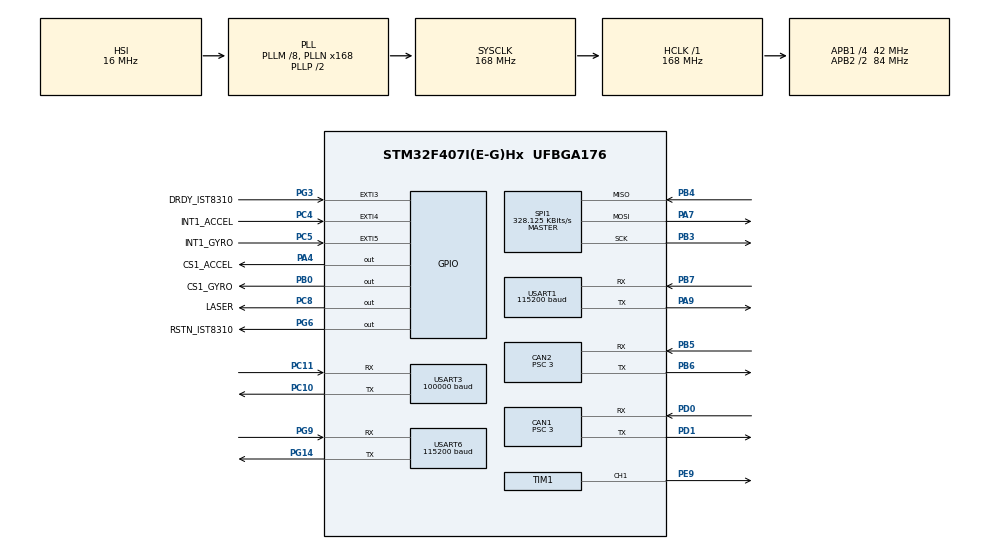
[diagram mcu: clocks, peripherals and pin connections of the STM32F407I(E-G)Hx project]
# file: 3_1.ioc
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CAN1.ABOM=DISABLE
CAN1.AWUM=DISABLE
CAN1.BS1=CAN_BS1_10TQ
CAN1.BS2=CAN_BS2_3TQ
CAN1.CalculateBaudRate=1000000
CAN1.CalculateTimeQuantum=71.42857142857143
CAN1.Mode=CAN_MODE_NORMAL
CAN1.NART=DISABLE
CAN1.Prescaler=3
CAN1.RFLM=DISABLE
CAN1.SJW=CAN_SJW_1TQ
CAN1.TTCM=DISABLE
CAN1.TXFP=DISABLE
CAN2.ABOM=DISABLE
CAN2.AWUM=DISABLE
CAN2.BS1=CAN_BS1_10TQ
CAN2.BS2=CAN_BS2_3TQ
CAN2.CalculateBaudRate=1000000
CAN2.CalculateTimeQuantum=71.42857142857143
CAN2.Mode=CAN_MODE_NORMAL
CAN2.NART=DISABLE
CAN2.Prescaler=3
CAN2.RFLM=DISABLE
CAN2.SJW=CAN_SJW_1TQ
CAN2.TTCM=DISABLE
CAN2.TXFP=DISABLE
Dma.Request0=USART3_RX
Dma.Request1=SPI1_RX
Dma.Request2=SPI1_TX
Dma.Request3=USART1_RX
Dma.Request4=USART1_TX
Dma.Request5=USART6_RX
Dma.SPI1_RX.1.Direction=DMA_PERIPH_TO_MEMORY
Dma.SPI1_RX.1.FIFOMode=DMA_FIFOMODE_DISABLE
Dma.SPI1_RX.1.Instance=DMA2_Stream2
Dma.SPI1_RX.1.MemDataAlignment=DMA_MDATAALIGN_BYTE
Dma.SPI1_RX.1.MemInc=DMA_MINC_ENABLE
Dma.SPI1_RX.1.Mode=DMA_NORMAL
Dma.SPI1_RX.1.PeriphDataAlignment=DMA_PDATAALIGN_BYTE
Dma.SPI1_RX.1.PeriphInc=DMA_PINC_DISABLE
Dma.SPI1_RX.1.Priority=DMA_PRIORITY_VERY_HIGH
Dma.SPI1_TX.2.Direction=DMA_MEMORY_TO_PERIPH
Dma.SPI1_TX.2.FIFOMode=DMA_FIFOMODE_DISABLE
Dma.SPI1_TX.2.Instance=DMA2_Stream3
Dma.SPI1_TX.2.MemDataAlignment=DMA_MDATAALIGN_BYTE
Dma.SPI1_TX.2.MemInc=DMA_MINC_ENABLE
Dma.SPI1_TX.2.Mode=DMA_NORMAL
Dma.SPI1_TX.2.PeriphDataAlignment=DMA_PDATAALIGN_BYTE
Dma.SPI1_TX.2.PeriphInc=DMA_PINC_DISABLE
Dma.SPI1_TX.2.Priority=DMA_PRIORITY_HIGH
Dma.USART1_RX.3.Direction=DMA_PERIPH_TO_MEMORY
Dma.USART1_RX.3.FIFOMode=DMA_FIFOMODE_DISABLE
Dma.USART1_RX.3.Instance=DMA2_Stream5
Dma.USART1_RX.3.MemDataAlignment=DMA_MDATAALIGN_BYTE
Dma.USART1_RX.3.MemInc=DMA_MINC_ENABLE
Dma.USART1_RX.3.Mode=DMA_NORMAL
Dma.USART1_RX.3.PeriphDataAlignment=DMA_PDATAALIGN_BYTE
Dma.USART1_RX.3.PeriphInc=DMA_PINC_DISABLE
Dma.USART1_RX.3.Priority=DMA_PRIORITY_HIGH
Dma.USART1_TX.4.Direction=DMA_MEMORY_TO_PERIPH
Dma.USART1_TX.4.FIFOMode=DMA_FIFOMODE_DISABLE
Dma.USART1_TX.4.Instance=DMA2_Stream7
Dma.USART1_TX.4.MemDataAlignment=DMA_MDATAALIGN_BYTE
Dma.USART1_TX.4.MemInc=DMA_MINC_ENABLE
Dma.USART1_TX.4.Mode=DMA_NORMAL
Dma.USART1_TX.4.PeriphDataAlignment=DMA_PDATAALIGN_BYTE
Dma.USART1_TX.4.PeriphInc=DMA_PINC_DISABLE
Dma.USART1_TX.4.Priority=DMA_PRIORITY_HIGH
Dma.USART3_RX.0.Direction=DMA_PERIPH_TO_MEMORY
Dma.USART3_RX.0.FIFOMode=DMA_FIFOMODE_DISABLE
Dma.USART3_RX.0.Instance=DMA1_Stream1
Dma.USART3_RX.0.MemDataAlignment=DMA_MDATAALIGN_BYTE
Dma.USART3_RX.0.MemInc=DMA_MINC_ENABLE
Dma.USART3_RX.0.Mode=DMA_CIRCULAR
Dma.USART3_RX.0.PeriphDataAlignment=DMA_PDATAALIGN_BYTE
Dma.USART3_RX.0.PeriphInc=DMA_PINC_DISABLE
Dma.USART3_RX.0.Priority=DMA_PRIORITY_LOW
Dma.USART6_RX.5.Direction=DMA_PERIPH_TO_MEMORY
Dma.USART6_RX.5.FIFOMode=DMA_FIFOMODE_DISABLE
Dma.USART6_RX.5.Instance=DMA2_Stream1
Dma.USART6_RX.5.MemDataAlignment=DMA_MDATAALIGN_BYTE
Dma.USART6_RX.5.MemInc=DMA_MINC_ENABLE
Dma.USART6_RX.5.Mode=DMA_CIRCULAR
Dma.USART6_RX.5.PeriphDataAlignment=DMA_PDATAALIGN_BYTE
Dma.USART6_RX.5.PeriphInc=DMA_PINC_DISABLE
Dma.USART6_RX.5.Priority=DMA_PRIORITY_LOW
FREERTOS.HEAP_NUMBER=4
FREERTOS.INCLUDE_eTaskGetState=1
FREERTOS.INCLUDE_pcTaskGetTaskName=1
FREERTOS.INCLUDE_uxTaskGetStackHighWaterMark=1
FREERTOS.INCLUDE_uxTaskGetStackHighWaterMark2=0
FREERTOS.INCLUDE_uxTaskPriorityGet=1
FREERTOS.INCLUDE_vTaskCleanUpResources=1
FREERTOS.INCLUDE_vTaskDelay=1
FREERTOS.INCLUDE_vTaskDelayUntil=1
FREERTOS.INCLUDE_vTaskDelete=1
FREERTOS.INCLUDE_vTaskPrioritySet=1
FREERTOS.INCLUDE_vTaskSuspend=1
FREERTOS.INCLUDE_xEventGroupSetBitFromISR=1
FREERTOS.INCLUDE_xQueueGetMutexHolder=1
FREERTOS.INCLUDE_xSemaphoreGetMutexHolder=1
FREERTOS.INCLUDE_xTaskAbortDelay=1
FREERTOS.INCLUDE_xTaskGetCurrentTaskHandle=1
FREERTOS.INCLUDE_xTaskGetHandle=1
FREERTOS.INCLUDE_xTaskGetSchedulerState=1
FREERTOS.INCLUDE_xTaskResumeFromISR=1
FREERTOS.INCLUDE_xTimerPendFunctionCall=1
FREERTOS.Tasks01=Init_TaskHandle,48,128,Init_Task,As weak,NULL,Dynamic,NULL,NULL;Comm_TaskHandle,48,128,Comm_Task,As weak,NULL,Dynamic,NULL,NULL;Ins_TaskHandler,48,128,Ins_Task,As weak,NULL,Dynamic,NULL,NULL;WatchDog_TaskHa,40,128,WatchDog_Task,As weak,NULL,Dynamic,NULL,NULL;Shoot_TaskHandl,48,128,Shoot_Task,As weak,NULL,Dynamic,NULL,NULL;Remote_TaskHand,48,128,Remote_Task,As weak,NULL,Dynamic,NULL,NULL;Gimbal_TaskHand,48,1024,Gimbal_Task,As weak,NULL,Dynamic,NULL,NULL;Referee_TaskHa,48,128,Referee_Task,As weak,NULL,Dynamic,NULL,NULL
FREERTOS.Timers01=SoftTimer,SoftTimerCallback,osTimerPeriodic,As weak,NULL,Dynamic,NULL
FREERTOS.configCHECK_FOR_STACK_OVERFLOW=0
FREERTOS.configENABLE_BACKWARD_COMPATIBILITY=1
FREERTOS.configENABLE_FPU=0
FREERTOS.configGENERATE_RUN_TIME_STATS=0
FREERTOS.configIDLE_SHOULD_YIELD=1
FREERTOS.configLIBRARY_LOWEST_INTERRUPT_PRIORITY=15
FREERTOS.configLIBRARY_MAX_SYSCALL_INTERRUPT_PRIORITY=5
FREERTOS.configMAX_CO_ROUTINE_PRIORITIES=2
FREERTOS.configMAX_TASK_NAME_LEN=16
FREERTOS.configMINIMAL_STACK_SIZE=128
FREERTOS.configQUEUE_REGISTRY_SIZE=8
FREERTOS.configRECORD_STACK_HIGH_ADDRESS=0
FREERTOS.configTICK_RATE_HZ=1000
FREERTOS.configTIMER_QUEUE_LENGTH=10
FREERTOS.configTIMER_TASK_PRIORITY=2
FREERTOS.configTIMER_TASK_STACK_DEPTH=256
FREERTOS.configTOTAL_HEAP_SIZE=24576
FREERTOS.configUSE_APPLICATION_TASK_TAG=0
FREERTOS.configUSE_COUNTING_SEMAPHORES=1
FREERTOS.configUSE_CO_ROUTINES=0
FREERTOS.configUSE_DAEMON_TASK_STARTUP_HOOK=0
FREERTOS.configUSE_IDLE_HOOK=0
FREERTOS.configUSE_MALLOC_FAILED_HOOK=0
FREERTOS.configUSE_MUTEXES=1
FREERTOS.configUSE_NEWLIB_REENTRANT=0
FREERTOS.configUSE_OS2_EVENTFLAGS_FROM_ISR=1
FREERTOS.configUSE_OS2_MUTEX=1
FREERTOS.configUSE_OS2_THREAD_ENUMERATE=1
FREERTOS.configUSE_OS2_THREAD_FLAGS=1
FREERTOS.configUSE_OS2_THREAD_SUSPEND_RESUME=1
FREERTOS.configUSE_OS2_TIMER=1
FREERTOS.configUSE_POSIX_ERRNO=0
FREERTOS.configUSE_PREEMPTION=1
FREERTOS.configUSE_RECURSIVE_MUTEXES=1
FREERTOS.configUSE_STATS_FORMATTING_FUNCTIONS=0
FREERTOS.configUSE_TASK_NOTIFICATIONS=1
FREERTOS.configUSE_TICKLESS_IDLE=0
FREERTOS.configUSE_TICK_HOOK=0
FREERTOS.configUSE_TRACE_FACILITY=1
FREERTOS.copyHeapFile=1
Mcu.Family=STM32F4
Mcu.Name=STM32F407I(E-G)Hx
Mcu.Package=UFBGA176
NVIC.CAN1_RX0_IRQn=true\:6\:0\:true\:false\:true\:true\:true\:true\:true
NVIC.CAN2_RX0_IRQn=true\:6\:0\:true\:false\:true\:true\:true\:true\:true
NVIC.DMA1_Stream1_IRQn=true\:5\:0\:false\:false\:true\:true\:false\:true\:true
NVIC.DMA2_Stream1_IRQn=true\:5\:0\:false\:false\:true\:true\:false\:true\:true
NVIC.DMA2_Stream2_IRQn=true\:5\:0\:true\:false\:false\:true\:false\:true\:true
NVIC.DMA2_Stream3_IRQn=true\:5\:0\:true\:false\:false\:true\:false\:true\:true
NVIC.DMA2_Stream5_IRQn=true\:5\:0\:false\:false\:true\:true\:false\:true\:true
NVIC.DMA2_Stream7_IRQn=true\:5\:0\:false\:false\:true\:true\:false\:true\:true
NVIC.EXTI3_IRQn=true\:5\:0\:true\:false\:true\:true\:true\:true\:true
NVIC.EXTI4_IRQn=true\:5\:0\:true\:false\:true\:true\:true\:true\:true
NVIC.EXTI9_5_IRQn=true\:5\:0\:true\:false\:true\:true\:true\:true\:true
NVIC.PriorityGroup=NVIC_PRIORITYGROUP_4
NVIC.TIM6_DAC_IRQn=true\:15\:0\:false\:false\:true\:false\:true\:true\:true
NVIC.TIM8_UP_TIM13_IRQn=true\:7\:0\:true\:false\:true\:true\:true\:true\:true
NVIC.TimeBase=TIM6_DAC_IRQn
NVIC.TimeBaseIP=TIM6
NVIC.USART1_IRQn=true\:5\:0\:false\:false\:true\:true\:true\:true\:true
NVIC.USART3_IRQn=true\:5\:0\:false\:false\:true\:true\:true\:true\:true
NVIC.USART6_IRQn=true\:5\:0\:false\:false\:true\:true\:true\:true\:true
PA13.Mode=Serial_Wire
PA13.Signal=SYS_JTMS-SWDIO
PA14.Mode=Serial_Wire
PA14.Signal=SYS_JTCK-SWCLK
PA4.GPIO_Label=CS1_ACCEL
PA4.GPIO_PuPd=GPIO_PULLUP
PA4.GPIO_Speed=GPIO_SPEED_FREQ_HIGH
PA4.PinState=GPIO_PIN_SET
PA4.Signal=GPIO_Output
PA7.GPIO_PuPd=GPIO_PULLUP
PA7.Mode=Full_Duplex_Master
PA7.Signal=SPI1_MOSI
PA9.Mode=Asynchronous
PA9.Signal=USART1_TX
PB0.GPIO_Label=CS1_GYRO
PB0.GPIO_PuPd=GPIO_PULLUP
PB0.GPIO_Speed=GPIO_SPEED_FREQ_HIGH
PB0.PinState=GPIO_PIN_SET
PB0.Signal=GPIO_Output
PB3.GPIO_PuPd=GPIO_PULLUP
PB3.Mode=Full_Duplex_Master
PB3.Signal=SPI1_SCK
PB4.GPIO_PuPd=GPIO_PULLUP
PB4.Mode=Full_Duplex_Master
PB4.Signal=SPI1_MISO
PB5.Mode=CAN_Activate
PB5.Signal=CAN2_RX
PB6.Mode=CAN_Activate
PB6.Signal=CAN2_TX
PB7.Mode=Asynchronous
PB7.Signal=USART1_RX
PC10.Mode=Asynchronous
PC10.Signal=USART3_TX
PC11.Mode=Asynchronous
PC11.Signal=USART3_RX
PC4.GPIO_Label=INT1_ACCEL
PC4.GPIO_ModeDefaultEXTI=GPIO_MODE_IT_FALLING
PC4.GPIO_PuPd=GPIO_PULLUP
PC4.Signal=GPXTI4
PC5.GPIO_Label=INT1_GYRO
PC5.GPIO_ModeDefaultEXTI=GPIO_MODE_IT_FALLING
PC5.GPIO_PuPd=GPIO_PULLUP
PC5.Signal=GPXTI5
PC8.GPIO_Label=LASER
PC8.Signal=GPIO_Output
PD0.Mode=CAN_Activate
PD0.Signal=CAN1_RX
PD1.Mode=CAN_Activate
PD1.Signal=CAN1_TX
PE9.Signal=S_TIM1_CH1
PG14.Mode=Asynchronous
PG14.Signal=USART6_TX
PG3.GPIO_Label=DRDY_IST8310
PG3.GPIO_ModeDefaultEXTI=GPIO_MODE_IT_FALLING
PG3.GPIO_PuPd=GPIO_PULLUP
PG3.Signal=GPXTI3
PG6.GPIO_Label=RSTN_IST8310
PG6.GPIO_PuPd=GPIO_PULLUP
PG6.GPIO_Speed=GPIO_SPEED_FREQ_MEDIUM
PG6.PinState=GPIO_PIN_SET
PG6.Signal=GPIO_Output
PG9.Mode=Asynchronous
PG9.Signal=USART6_RX
PH0-OSC_IN.Mode=HSE-External-Oscillator
PH0-OSC_IN.Signal=RCC_OSC_IN
PH1-OSC_OUT.Mode=HSE-External-Oscillator
PH1-OSC_OUT.Signal=RCC_OSC_OUT
ProjectManager.HeapSize=0x2000
ProjectManager.StackSize=0x4000
ProjectManager.TargetToolchain=CMake
RCC.48MHZClocksFreq_Value=48000000
RCC.AHBFreq_Value=168000000
RCC.APB1CLKDivider=RCC_HCLK_DIV4
RCC.APB1Freq_Value=42000000
RCC.APB1TimFreq_Value=84000000
RCC.APB2CLKDivider=RCC_HCLK_DIV2
RCC.APB2Freq_Value=84000000
RCC.APB2TimFreq_Value=168000000
RCC.CortexFreq_Value=168000000
RCC.FLatency=FLASH_LATENCY_5
RCC.HCLKFreq_Value=168000000
RCC.HSE_VALUE=25000000
RCC.HSI_VALUE=16000000
RCC.LSE_VALUE=32768
RCC.PLLM=8
RCC.PLLN=168
RCC.PLLQ=7
RCC.SYSCLKFreq_VALUE=168000000
RCC.SYSCLKSource=RCC_SYSCLKSOURCE_PLLCLK
RCC.VCOOutputFreq_Value=336000000
SH.S_TIM1_CH1.0=TIM1_CH1,PWM Generation1 CH1
SPI1.BaudRatePrescaler=SPI_BAUDRATEPRESCALER_256
SPI1.CLKPhase=SPI_PHASE_2EDGE
SPI1.CLKPolarity=SPI_POLARITY_HIGH
SPI1.CRCCalculation=SPI_CRCCALCULATION_DISABLE
SPI1.CalculateBaudRate=328.125 KBits/s
SPI1.DataSize=SPI_DATASIZE_8BIT
SPI1.Direction=SPI_DIRECTION_2LINES
SPI1.FirstBit=SPI_FIRSTBIT_MSB
SPI1.Mode=SPI_MODE_MASTER
SPI1.NSS=SPI_NSS_SOFT
SPI1.TIMode=SPI_TIMODE_DISABLE
SPI1.VirtualType=VM_MASTER
TIM1.AutoReloadPreload=TIM_AUTORELOAD_PRELOAD_DISABLE
TIM1.AutomaticOutput=TIM_AUTOMATICOUTPUT_DISABLE
TIM1.BreakPolarity=TIM_BREAKPOLARITY_HIGH
TIM1.BreakState=TIM_BREAK_DISABLE
TIM1.Channel-PWM\ Generation1\ CH1=TIM_CHANNEL_1
TIM1.ClockDivision=TIM_CLOCKDIVISION_DIV1
TIM1.CounterMode=TIM_COUNTERMODE_UP
TIM1.LockLevel=TIM_LOCKLEVEL_OFF
TIM1.OC1Preload_PWM=ENABLE
TIM1.OCFastMode_PWM-PWM\ Generation1\ CH1=TIM_OCFAST_DISABLE
TIM1.OCIdleState_1=TIM_OCIDLESTATE_RESET
TIM1.OCMode_PWM-PWM\ Generation1\ CH1=TIM_OCMODE_PWM1
TIM1.OCPolarity_1=TIM_OCPOLARITY_HIGH
TIM1.OffStateIDLEMode=TIM_OSSI_DISABLE
TIM1.OffStateRunMode=TIM_OSSR_DISABLE
TIM1.Period=20000-1
TIM1.Prescaler=168
TIM1.Pulse-PWM\ Generation1\ CH1=0
TIM1.RepetitionCounter=0
TIM1.TIM_MasterOutputTrigger=TIM_TRGO_RESET
TIM1.TIM_MasterSlaveMode=TIM_MASTERSLAVEMODE_DISABLE
TIM12.AutoReloadPreload=TIM_AUTORELOAD_PRELOAD_DISABLE
TIM12.ClockDivision=TIM_CLOCKDIVISION_DIV1
TIM12.CounterMode=TIM_COUNTERMODE_UP
TIM12.Period=65535
TIM12.Prescaler=0
TIM8.AutoReloadPreload=TIM_AUTORELOAD_PRELOAD_DISABLE
TIM8.ClockDivision=TIM_CLOCKDIVISION_DIV1
TIM8.CounterMode=TIM_COUNTERMODE_UP
TIM8.Period=65535
TIM8.Prescaler=0
TIM8.RepetitionCounter=0
TIM8.TIM_MasterOutputTrigger=TIM_TRGO_RESET
TIM8.TIM_MasterSlaveMode=TIM_MASTERSLAVEMODE_DISABLE
USART1.BaudRate=115200
USART1.Mode=MODE_TX_RX
USART1.OverSampling=UART_OVERSAMPLING_16
USART1.Parity=PARITY_NONE
USART1.StopBits=STOPBITS_1
USART1.VirtualMode=VM_ASYNC
USART1.WordLength=WORDLENGTH_8B
USART3.BaudRate=100000
USART3.Mode=MODE_TX_RX
USART3.OverSampling=UART_OVERSAMPLING_16
USART3.Parity=PARITY_EVEN
USART3.StopBits=STOPBITS_1
USART3.VirtualMode=VM_ASYNC
USART3.WordLength=WORDLENGTH_8B
USART6.BaudRate=115200
USART6.Mode=MODE_TX_RX
USART6.OverSampling=UART_OVERSAMPLING_16
USART6.Parity=PARITY_NONE
USART6.StopBits=STOPBITS_1
USART6.VirtualMode=VM_ASYNC
USART6.WordLength=WORDLENGTH_8B
VP_CRC_VS_CRC.Mode=CRC_Activate
VP_FREERTOS_VS_CMSIS_V2.Mode=CMSIS_V2
VP_RNG_VS_RNG.Mode=RNG_Activate
VP_SYS_VS_tim6.Mode=TIM6
VP_TIM12_VS_ClockSourceINT.Mode=Internal
VP_TIM8_VS_ClockSourceINT.Mode=Internal
board=custom

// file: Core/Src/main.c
/* USER CODE BEGIN Header */
/**
  ******************************************************************************
  * @file           : main.c
  * @brief          : Main program body
  ******************************************************************************
  * @attention
  *
  * Copyright (c) 2026 STMicroelectronics.
  * All rights reserved.
  *
  * This software is licensed under terms that can be found in the LICENSE file
  * in the root directory of this software component.
  * If no LICENSE file comes with this software, it is provided AS-IS.
  *
  ******************************************************************************
  */
/* USER CODE END Header */
#include "main.h"
#include "cmsis_os.h"
#include "can.h"
#include "crc.h"
#include "dma.h"
#include "rng.h"
#include "spi.h"
#include "tim.h"
#include "usart.h"
#include "gpio.h"

/* USER CODE BEGIN Includes */
#include "motor_send_tim.h"

/* USER CODE END Includes */

void SystemClock_Config(void);
void MX_FREERTOS_Init(void);

int main(void)
{

  /* MCU Configuration--------------------------------------------------------*/

  /* Reset of all peripherals, Initializes the Flash interface and the Systick. */
  HAL_Init();

  /* Configure the system clock */
  SystemClock_Config();

  /* Initialize all configured peripherals */
  MX_GPIO_Init();
  MX_DMA_Init();
  MX_CAN1_Init();
  MX_CAN2_Init();
  MX_SPI1_Init();
  MX_TIM1_Init();
  MX_USART3_UART_Init();
  MX_TIM8_Init();
  MX_TIM12_Init();
  MX_USART6_UART_Init();
  MX_USART1_UART_Init();
  MX_CRC_Init();
  MX_RNG_Init();
  /* USER CODE BEGIN 2 */
  motor_send_tim_init();  // 配置 TIM8 为 250μs 周期，暂不启动，等电机使能后再 start
  /* USER CODE END 2 */

  /* Init scheduler */
  osKernelInitialize();  /* Call init function for freertos objects (in cmsis_os2.c) */
  MX_FREERTOS_Init();

  /* Start scheduler */
  osKernelStart();

  /* We should never get here as control is now taken by the scheduler */

  /* Infinite loop */
  while (1)
  {

  }
}

void SystemClock_Config(void)
{
  RCC_OscInitTypeDef RCC_OscInitStruct = {0};
  RCC_ClkInitTypeDef RCC_ClkInitStruct = {0};

  /** Configure the main internal regulator output voltage
  */
  __HAL_RCC_PWR_CLK_ENABLE();
  __HAL_PWR_VOLTAGESCALING_CONFIG(PWR_REGULATOR_VOLTAGE_SCALE1);

  /** Initializes the RCC Oscillators according to the specified parameters
  * in the RCC_OscInitTypeDef structure.
  */
  RCC_OscInitStruct.OscillatorType = RCC_OSCILLATORTYPE_HSI;
  RCC_OscInitStruct.HSIState = RCC_HSI_ON;
  RCC_OscInitStruct.HSICalibrationValue = RCC_HSICALIBRATION_DEFAULT;
  RCC_OscInitStruct.PLL.PLLState = RCC_PLL_ON;
  RCC_OscInitStruct.PLL.PLLSource = RCC_PLLSOURCE_HSI;
  RCC_OscInitStruct.PLL.PLLM = 8;
  RCC_OscInitStruct.PLL.PLLN = 168;
  RCC_OscInitStruct.PLL.PLLP = RCC_PLLP_DIV2;
  RCC_OscInitStruct.PLL.PLLQ = 7;
  if (HAL_RCC_OscConfig(&RCC_OscInitStruct) != HAL_OK)
  {
    Error_Handler();
  }

  /** Initializes the CPU, AHB and APB buses clocks
  */
  RCC_ClkInitStruct.ClockType = RCC_CLOCKTYPE_HCLK|RCC_CLOCKTYPE_SYSCLK
                              |RCC_CLOCKTYPE_PCLK1|RCC_CLOCKTYPE_PCLK2;
  RCC_ClkInitStruct.SYSCLKSource = RCC_SYSCLKSOURCE_PLLCLK;
  RCC_ClkInitStruct.AHBCLKDivider = RCC_SYSCLK_DIV1;
  RCC_ClkInitStruct.APB1CLKDivider = RCC_HCLK_DIV4;
  RCC_ClkInitStruct.APB2CLKDivider = RCC_HCLK_DIV2;

  if (HAL_RCC_ClockConfig(&RCC_ClkInitStruct, FLASH_LATENCY_5) != HAL_OK)
  {
    Error_Handler();
  }
}

void HAL_TIM_PeriodElapsedCallback(TIM_HandleTypeDef *htim)
{
  if (htim->Instance == TIM6)
  {
    HAL_IncTick();
  }
}

void Error_Handler(void)
{
  __disable_irq();
  while (1)
  {
  }
}

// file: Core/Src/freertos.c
/* USER CODE BEGIN Header */
/**
  ******************************************************************************
  * File Name          : freertos.c
  * Description        : Code for freertos applications
  ******************************************************************************
  * @attention
  *
  * Copyright (c) 2026 STMicroelectronics.
  * All rights reserved.
  *
  * This software is licensed under terms that can be found in the LICENSE file
  * in the root directory of this software component.
  * If no LICENSE file comes with this software, it is provided AS-IS.
  *
  ******************************************************************************
  */
/* USER CODE END Header */

#include "FreeRTOS.h"
#include "task.h"
#include "main.h"
#include "cmsis_os.h"

/* USER CODE BEGIN Includes */
#include "dm_motor_ctrl.h"
#include "dm_motor_drv.h"
#include "can.h"
#include "bsp_can.h"
#include "remote.h"
#include "motor_send_tim.h"
#include "chassis.h"
#include "tim.h"
#include "math.h"
#include <stdbool.h>
/* USER CODE END Includes */

/* USER CODE BEGIN Variables */
volatile float g_servo_pulse = 1500.0f;  // 调试用全局变量，Watch窗口可实时查看
/* USER CODE END Variables */
/* Definitions for Init_TaskHandle */
osThreadId_t Init_TaskHandleHandle;
const osThreadAttr_t Init_TaskHandle_attributes = {
  .name = "Init_TaskHandle",
  .stack_size = 128 * 4,
  .priority = (osPriority_t) osPriorityRealtime,
};
/* Definitions for Comm_TaskHandle */
osThreadId_t Comm_TaskHandleHandle;
const osThreadAttr_t Comm_TaskHandle_attributes = {
  .name = "Comm_TaskHandle",
  .stack_size = 128 * 4,
  .priority = (osPriority_t) osPriorityRealtime,
};
/* Definitions for Ins_TaskHandler */
osThreadId_t Ins_TaskHandlerHandle;
const osThreadAttr_t Ins_TaskHandler_attributes = {
  .name = "Ins_TaskHandler",
  .stack_size = 128 * 4,
  .priority = (osPriority_t) osPriorityRealtime,
};
/* Definitions for WatchDog_TaskHa */
osThreadId_t WatchDog_TaskHaHandle;
const osThreadAttr_t WatchDog_TaskHa_attributes = {
  .name = "WatchDog_TaskHa",
  .stack_size = 128 * 4,
  .priority = (osPriority_t) osPriorityHigh,
};
/* Definitions for Shoot_TaskHandl */
osThreadId_t Shoot_TaskHandlHandle;
const osThreadAttr_t Shoot_TaskHandl_attributes = {
  .name = "Shoot_TaskHandl",
  .stack_size = 128 * 4,
  .priority = (osPriority_t) osPriorityRealtime,
};
/* Definitions for Remote_TaskHand */
osThreadId_t Remote_TaskHandHandle;
const osThreadAttr_t Remote_TaskHand_attributes = {
  .name = "Remote_TaskHand",
  .stack_size = 128 * 4,
  .priority = (osPriority_t) osPriorityRealtime,
};
/* Definitions for Gimbal_TaskHand */
osThreadId_t Gimbal_TaskHandHandle;
const osThreadAttr_t Gimbal_TaskHand_attributes = {
  .name = "Gimbal_TaskHand",
  .stack_size = 1024 * 4,
  .priority = (osPriority_t) osPriorityRealtime,
};
/* Definitions for Referee_TaskHa */
osThreadId_t Referee_TaskHaHandle;
const osThreadAttr_t Referee_TaskHa_attributes = {
  .name = "Referee_TaskHa",
  .stack_size = 128 * 4,
  .priority = (osPriority_t) osPriorityRealtime,
};
/* Definitions for SoftTimer */
osTimerId_t SoftTimerHandle;
const osTimerAttr_t SoftTimer_attributes = {
  .name = "SoftTimer"
};

void Init_Task(void *argument);
void Comm_Task(void *argument);
void Ins_Task(void *argument);
void WatchDog_Task(void *argument);
void Shoot_Task(void *argument);
void Remote_Task(void *argument);
void Gimbal_Task(void *argument);
void Referee_Task(void *argument);
void SoftTimerCallback(void *argument);

void MX_FREERTOS_Init(void); /* (MISRA C 2004 rule 8.1) */

void MX_FREERTOS_Init(void) {

  /* Create the timer(s) */
  /* creation of SoftTimer */
  SoftTimerHandle = osTimerNew(SoftTimerCallback, osTimerPeriodic, NULL, &SoftTimer_attributes);

  /* Create the thread(s) */
  /* creation of Init_TaskHandle */
  Init_TaskHandleHandle = osThreadNew(Init_Task, NULL, &Init_TaskHandle_attributes);

  /* creation of Comm_TaskHandle */
  Comm_TaskHandleHandle = osThreadNew(Comm_Task, NULL, &Comm_TaskHandle_attributes);

  /* creation of Ins_TaskHandler */
  Ins_TaskHandlerHandle = osThreadNew(Ins_Task, NULL, &Ins_TaskHandler_attributes);

  /* creation of WatchDog_TaskHa */
  WatchDog_TaskHaHandle = osThreadNew(WatchDog_Task, NULL, &WatchDog_TaskHa_attributes);

  /* creation of Shoot_TaskHandl */
  Shoot_TaskHandlHandle = osThreadNew(Shoot_Task, NULL, &Shoot_TaskHandl_attributes);

  /* creation of Remote_TaskHand */
  Remote_TaskHandHandle = osThreadNew(Remote_Task, NULL, &Remote_TaskHand_attributes);

  /* creation of Gimbal_TaskHand */
  Gimbal_TaskHandHandle = osThreadNew(Gimbal_Task, NULL, &Gimbal_TaskHand_attributes);

  /* creation of Referee_TaskHa */
  Referee_TaskHaHandle = osThreadNew(Referee_Task, NULL, &Referee_TaskHa_attributes);

}

__weak void Init_Task(void *argument)
{
  for(;;)
  {
    osDelay(1);
  }
}

__weak void Comm_Task(void *argument)
{
  for(;;)
  {
    osDelay(1);
  }
}

__weak void Ins_Task(void *argument)
{
  for(;;)
  {
    osDelay(1);
  }
}

__weak void WatchDog_Task(void *argument)
{
  for(;;)
  {
    osDelay(1);
  }
}

__weak void Shoot_Task(void *argument)
{
  for(;;)
  {
    osDelay(1);
  }
}

__weak void Remote_Task(void *argument)
{
  for(;;)
  {
    osDelay(1);
  }
}

__weak void Gimbal_Task(void *argument)
{
  /* USER CODE BEGIN Gimbal_Task */

  // ====================== 初始化 ======================
  bsp_can_init();
  rc_init();

  // 舵机：立即启动PWM并发送中位，防止AF引脚低电平导致舵机冲限位
  HAL_TIM_PWM_Start(&htim1, TIM_CHANNEL_1);
  __HAL_TIM_SET_COMPARE(&htim1, TIM_CHANNEL_1, 710);

  osDelay(100);
  dm_motor_init();
  osDelay(100);

  for (int retry = 0; retry < 3; retry++) {
      for (int i = 0; i < num; i++) {
          if (motor[i].id == 0x01 || motor[i].id == 0x04 ||
              motor[i].id == 0x07 || motor[i].id == 0x0A) {
              dm_motor_clear_err(&hcan1, &motor[i]);
              osDelay(50);
              dm_motor_enable(&hcan1, &motor[i]);
              osDelay(50);
          }
      }
      osDelay(100);
  }

  for (int w = 0; w < 200; w++) {
      bool ok = true;
      for (int i = 0; i < num; i++) {
          if (motor[i].id == 0x01 || motor[i].id == 0x04 ||
              motor[i].id == 0x07 || motor[i].id == 0x0A) {
              if (motor[i].para.state == 0) ok = false;
          }
      }
      if (ok) break;
      osDelay(5);
  }
  osDelay(200);

  // ====================== 参数（const 防误改）======================
  const float kp_m1 = 150.0f, kd_m1 = 5.0f;
  const float kp_m2 = 200.0f, kd_m2 = 5.0f;
  const float kp_m3 = 150.0f, kd_m3 = 5.0f;

  #define GRIPPER_HOLD    0
  #define GRIPPER_CLAMP   1
  #define GRIPPER_RELEASE 2
  const float gripper_clamp_vel   =  2.0f;
  const float gripper_release_vel = -2.0f;
  const float gripper_kd          =  1.0f;
  const float gripper_hold_kp     = 50.0f;
  const float gripper_hold_kd     =  2.0f;
  const float gripper_tor_limit   =  3.0f;

  const int16_t RC_DEADZONE = 30;     // 死区加大，过滤零漂和噪声
  const float POS_LIMIT     = 12.0f;  // 位置安全限幅（PMAX=12.5）

  // ====================== 状态 ======================
  float pos_ref_m1 = motor[Motor1].para.pos;
  float pos_ref_m2 = motor[Motor2].para.pos;
  float pos_ref_m3 = motor[Motor3].para.pos;
  float gripper_hold_pos = motor[Motor4].para.pos;
  float int_m2 = 0.0f, int_m3 = 0.0f;

  // 上线同步：记录上一帧各电机的使能状态，检测 0→非0 跳变
  uint8_t prev_state_m1 = motor[Motor1].para.state;
  uint8_t prev_state_m2 = motor[Motor2].para.state;
  uint8_t prev_state_m3 = motor[Motor3].para.state;
  uint8_t prev_state_m4 = motor[Motor4].para.state;

  uint8_t last_s0 = 0;
  uint8_t gripper_state = GRIPPER_HOLD;
  bool gripper_overcurrent = false;

  #define SERVO_CENTER  1150.0f    // 上电基准位置
  #define SERVO_OFFSET  111     // 约10度对应脉宽偏移（us），待实测后修正
  #define SERVO_STEP    2.0f    // 每帧步进（us），控制切换速度
  #define SERVO_MIN     700.0f  // 舵机最小脉宽（根据实际行程调整）
  #define SERVO_MAX     1250.0f  // 舵机最大脉宽（根据实际行程调整）
  float servo_pulse  = SERVO_CENTER;
  float servo_target = SERVO_CENTER;

  // ---- 键鼠灵敏度常数（参考infantry_master，按需调整）----
  #define MOUSE_DEADZONE      8       // 鼠标死区，过滤手抖
  #define MOUSE_ROT_GAIN      6.0f    // 鼠标X → M2006旋转电流系数
  #define MOUSE_SERVO_GAIN    0.02f   // 鼠标Y → 图传舵机步进（us/count）
  #define KB_CHASSIS_SPEED    3000.0f // WASD底盘速度
  #define KB_CHASSIS_BOOST    5000.0f // Shift加速
  #define KB_CHASSIS_ROT      2000.0f // Z/X旋转速度

  // RC 滤波（上一帧有效值）
  int16_t ch_prev[4] = {0, 0, 0, 0};

  // ====================== 主循环 500Hz 直接发送 ======================
  for (;;)
  {
    // -------- 0. 电机上线检测：state 0→非0 时同步 pos_ref，防止突转 --------
    if (prev_state_m1 == 0 && motor[Motor1].para.state != 0)
        pos_ref_m1 = motor[Motor1].para.pos;
    if (prev_state_m2 == 0 && motor[Motor2].para.state != 0) {
        pos_ref_m2 = motor[Motor2].para.pos;
        int_m2 = 0.0f;
    }
    if (prev_state_m3 == 0 && motor[Motor3].para.state != 0) {
        pos_ref_m3 = motor[Motor3].para.pos;
        int_m3 = 0.0f;
    }
    if (prev_state_m4 == 0 && motor[Motor4].para.state != 0)
        gripper_hold_pos = motor[Motor4].para.pos;
    prev_state_m1 = motor[Motor1].para.state;
    prev_state_m2 = motor[Motor2].para.state;
    prev_state_m3 = motor[Motor3].para.state;
    prev_state_m4 = motor[Motor4].para.state;

    // -------- 1. RC 采集 + 校验 + 滤波 --------
    uint8_t s0 = rc.s[0];
    uint8_t s1 = rc.s[1];
    int16_t ch_raw[4] = { rc.ch[0], rc.ch[1], rc.ch[2], rc.ch[3] };

    // 校验：开关值必须 1/2/3，通道值必须 [-660, 660]
    bool rc_ok = (s0 >= 1 && s0 <= 3);
    for (int i = 0; i < 4; i++) {
        if (ch_raw[i] < -660 || ch_raw[i] > 660) rc_ok = false;
    }
    if (!rc_ok) {
        chassis_set_current(0, 0, 0, 0);
        grip_rot_set_current(0, 0);
        // DM电机不发新指令→电机维持上一帧状态
        last_s0 = 0;
        osDelay(2);
        continue;
    }

    // 滤波（取当前帧和上一帧平均）+ 死区
    int16_t ch[4];
    for (int i = 0; i < 4; i++) {
        int16_t val = (ch_raw[i] + ch_prev[i]) / 2;
        ch[i] = (val > -RC_DEADZONE && val < RC_DEADZONE) ? 0 : val;
        ch_prev[i] = ch_raw[i];
    }

    // -------- 2. 切档同步 --------
    if (s0 != last_s0 && last_s0 != 0) {
        pos_ref_m1 = motor[Motor1].para.pos;
        pos_ref_m2 = motor[Motor2].para.pos;
        pos_ref_m3 = motor[Motor3].para.pos;
        // 不清零 int_m2/int_m3，保留已积累的重力补偿，防止切档下坠
    }

    // -------- 3. 模式分发 --------
    float vel_m1 = 0, vel_m2 = 0, vel_m3 = 0;

    // 键鼠模式：s[0]=3 且 s[1]=3 时激活
    bool kb_mode = (s0 == 3 && s1 == 3);

    if (kb_mode) {
        // 底盘：W前S后，A左平移D右平移，Z左旋转X右旋转
        float vx  = (rc.key.w ? KB_CHASSIS_SPEED : 0) - (rc.key.s ? KB_CHASSIS_SPEED : 0);   // W前 S后
        float vy  = (rc.key.a ? KB_CHASSIS_SPEED : 0) - (rc.key.d ? KB_CHASSIS_SPEED : 0);   // A左平移 D右平移
        float wz  = (rc.key.z ? KB_CHASSIS_ROT : 0) - (rc.key.x ? KB_CHASSIS_ROT : 0);  // Z左旋 X右旋
        if (vx != 0 || vy != 0 || wz != 0)
            chassis_mecanum_calc(vx, vy, wz, KB_CHASSIS_SPEED);
        else
            chassis_set_current(0, 0, 0, 0);

        // 图传舵机：Shift抬高 / Ctrl压低
        servo_target += (rc.key.shift ? SERVO_STEP : 0) - (rc.key.ctrl ? SERVO_STEP : 0);
        if (servo_target > SERVO_MAX) servo_target = SERVO_MAX;
        if (servo_target < SERVO_MIN) servo_target = SERVO_MIN;
        servo_pulse = servo_target;
        g_servo_pulse = servo_pulse;
        __HAL_TIM_SET_COMPARE(&htim1, TIM_CHANNEL_1, (uint16_t)servo_pulse);

        // M1 大臂旋转：Q正转 / E反转
        vel_m1 = (rc.key.q ? 1.0f : 0) - (rc.key.e ? 1.0f : 0);

        // Motor2（大臂pitch）：R正 / F负，速度对齐遥控器通道量级
        vel_m2 = (rc.key.f ? 1.0f : 0) - (rc.key.r ? 1.0f : 0);
        // Motor3（小臂pitch）：G正 / B负
        vel_m3 = (rc.key.b ? 1.0f : 0) - (rc.key.g ? 1.0f : 0);

        // 夹爪 DM：左键抓 / 右键放
        uint8_t desired = GRIPPER_HOLD;
        if (rc.mouse.l) desired = GRIPPER_CLAMP;
        else if (rc.mouse.r) desired = GRIPPER_RELEASE;
        if (gripper_overcurrent) {
            if (desired == GRIPPER_HOLD) gripper_overcurrent = false;
            desired = GRIPPER_HOLD;
        }
        if (desired != gripper_state) {
            if (desired == GRIPPER_HOLD) gripper_hold_pos = motor[Motor4].para.pos;
            gripper_state = desired;
        }
        if ((gripper_state == GRIPPER_CLAMP || gripper_state == GRIPPER_RELEASE) &&
            fabs(motor[Motor4].para.tor) > gripper_tor_limit) {
            gripper_hold_pos = motor[Motor4].para.pos;
            gripper_state = GRIPPER_HOLD;
            gripper_overcurrent = true;
        }
    }
    else if (s0 == 1) {
        vel_m2 = -(float)ch[3] * 0.005f;
        vel_m3 = -(float)ch[1] * 0.005f;

        // S[1] 三档控制图传舵机俯仰角度
        // 调试阶段：s1=1持续增加脉宽，s1=2持续减小，找到合适位置后记录g_servo_pulse的值
        if      (s1 == 1) servo_target += SERVO_STEP;   // 持续向一侧移动
        else if (s1 == 2) servo_target -= SERVO_STEP;   // 持续向另一侧移动
        // s1=3：保持当前位置不动
        if (servo_target > SERVO_MAX) servo_target = SERVO_MAX;
        if (servo_target < SERVO_MIN) servo_target = SERVO_MIN;

        servo_pulse = servo_target;
        g_servo_pulse = servo_pulse;  // 同步全局变量，供Watch窗口实时查看
        __HAL_TIM_SET_COMPARE(&htim1, TIM_CHANNEL_1, (uint16_t)servo_pulse);
    }
    else if (s0 == 2) {
        vel_m1 = -(float)ch[0] * 0.008f;

        uint8_t desired = GRIPPER_HOLD;
        if (s1 == 1) desired = GRIPPER_CLAMP;
        else if (s1 == 2) desired = GRIPPER_RELEASE;

        if (gripper_overcurrent) {
            if (desired == GRIPPER_HOLD) gripper_overcurrent = false;
            desired = GRIPPER_HOLD;
        }
        if (desired != gripper_state) {
            if (desired == GRIPPER_HOLD) gripper_hold_pos = motor[Motor4].para.pos;
            gripper_state = desired;
        }
        if ((gripper_state == GRIPPER_CLAMP || gripper_state == GRIPPER_RELEASE) &&
            fabs(motor[Motor4].para.tor) > gripper_tor_limit) {
            gripper_hold_pos = motor[Motor4].para.pos;
            gripper_state = GRIPPER_HOLD;
            gripper_overcurrent = true;
        }
    }
    else if (s0 == 3) {  // s1!=3，普通底盘档
        if (gripper_state != GRIPPER_HOLD) {
            gripper_hold_pos = motor[Motor4].para.pos;
            gripper_state = GRIPPER_HOLD;
        }
        chassis_mecanum_calc(
            (float)ch[1] * 10.0f,    // vx 前后（上拨=前进）
            -(float)ch[0] * 10.0f,   // vy 平移（左拨=左平移）
            -(float)ch[2] * 8.0f,    // wz 旋转（右拨=顺时针）
            5000.0f);
    }

    if (!kb_mode && s0 != 3) chassis_set_current(0, 0, 0, 0);

    // -------- 4. 位置积分 + 限幅 --------
    pos_ref_m1 += vel_m1 * 0.002f;
    pos_ref_m2 += vel_m2 * 0.002f;
    pos_ref_m3 += vel_m3 * 0.002f;

    if (pos_ref_m1 >  POS_LIMIT) pos_ref_m1 =  POS_LIMIT;
    if (pos_ref_m1 < -POS_LIMIT) pos_ref_m1 = -POS_LIMIT;
    if (pos_ref_m2 >  POS_LIMIT) pos_ref_m2 =  POS_LIMIT;
    if (pos_ref_m2 < -POS_LIMIT) pos_ref_m2 = -POS_LIMIT;
    if (pos_ref_m3 >  POS_LIMIT) pos_ref_m3 =  POS_LIMIT;
    if (pos_ref_m3 < -POS_LIMIT) pos_ref_m3 = -POS_LIMIT;

    // -------- 5. 重力补偿 --------
    float err2 = pos_ref_m2 - motor[Motor2].para.pos;
    float err3 = pos_ref_m3 - motor[Motor3].para.pos;
    int_m2 += err2 * ((fabs(vel_m2) < 0.01f) ? 2.0f : 0.5f);
    int_m3 += err3 * ((fabs(vel_m3) < 0.01f) ? 2.0f : 0.5f);
    if (int_m2 >  25.0f) int_m2 =  25.0f;
    if (int_m2 < -25.0f) int_m2 = -25.0f;
    if (int_m3 >  20.0f) int_m3 =  20.0f;
    if (int_m3 < -20.0f) int_m3 = -20.0f;

    // -------- 6. DM 电机直接发送（无 ISR，零数据竞争）--------
    mit_ctrl(&hcan1, &motor[Motor1], motor[Motor1].id,
             pos_ref_m1, 0, kp_m1, kd_m1, 0);
    mit_ctrl(&hcan1, &motor[Motor2], motor[Motor2].id,
             pos_ref_m2, 0, kp_m2, kd_m2, int_m2);
    mit_ctrl(&hcan1, &motor[Motor3], motor[Motor3].id,
             pos_ref_m3, 0, kp_m3, kd_m3, int_m3);

    if (gripper_state == GRIPPER_CLAMP)
        mit_ctrl(&hcan1, &motor[Motor4], motor[Motor4].id,
                 0, gripper_clamp_vel, 0, gripper_kd, 0);
    else if (gripper_state == GRIPPER_RELEASE)
        mit_ctrl(&hcan1, &motor[Motor4], motor[Motor4].id,
                 0, gripper_release_vel, 0, gripper_kd, 0);
    else
        mit_ctrl(&hcan1, &motor[Motor4], motor[Motor4].id,
                 gripper_hold_pos, 0, gripper_hold_kp, gripper_hold_kd, 0);

    // -------- 7. M2006 夹爪旋转(rot) / 上下(ud) --------
    // 叠加控制：A = rot + ud，B = rot - ud
    // 键鼠模式：鼠标X→旋转（带死区），C上/V下
    // 遥控器模式：ch[3]→旋转，ch[2]→上下
    if (!kb_mode && s0 != 2) {
        grip_rot_set_current(0, 0);
    } else {
        float rot_cur, ud_cur;
        if (kb_mode) {
            int16_t mx = rc.mouse.x;
            rot_cur = (mx > MOUSE_DEADZONE || mx < -MOUSE_DEADZONE) ?
                      -(float)mx * MOUSE_ROT_GAIN : 0.0f;  // 反向：加负号
            ud_cur  = (rc.key.c ? 3500.0f : 0) - (rc.key.v ? 3500.0f : 0);  // C上 V下
        } else {
            rot_cur = (float)ch[3] * 3.5f;
            ud_cur  = (float)ch[2] * 5.0f;
        }
        float cur_A = rot_cur + ud_cur;
        float cur_B = rot_cur - ud_cur;
        if (cur_A >  8000.0f) cur_A =  8000.0f;
        if (cur_A < -8000.0f) cur_A = -8000.0f;
        if (cur_B >  8000.0f) cur_B =  8000.0f;
        if (cur_B < -8000.0f) cur_B = -8000.0f;
        grip_rot_set_current((int16_t)cur_A, (int16_t)cur_B);
    }

    // -------- 8. 掉线检测：电机未使能则重新使能 --------
    static uint32_t re_enable_cnt = 0;
    if (++re_enable_cnt >= 500) {  // 每 1s 检查一次（2ms × 500）
        re_enable_cnt = 0;
        for (int i = 0; i < num; i++) {
            if ((motor[i].id == 0x01 || motor[i].id == 0x04 ||
                 motor[i].id == 0x07 || motor[i].id == 0x0A) &&
                motor[i].para.state == 0) {
                dm_motor_enable(&hcan1, &motor[i]);
            }
        }
    }

    last_s0 = s0;

    osDelay(2);
  }
  /* USER CODE END Gimbal_Task */
}

__weak void Referee_Task(void *argument)
{
  for(;;)
  {
    osDelay(1);
  }
}

/* SoftTimerCallback function */
__weak void SoftTimerCallback(void *argument)
{
}
